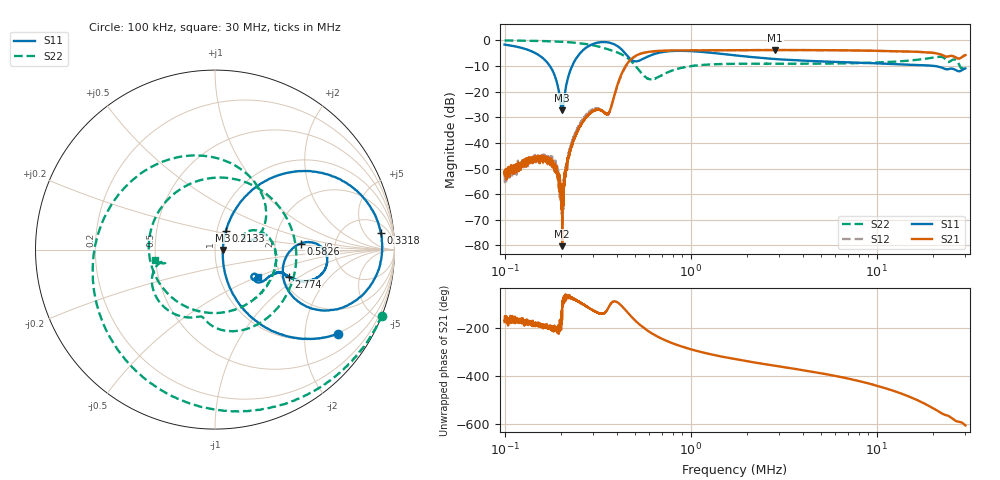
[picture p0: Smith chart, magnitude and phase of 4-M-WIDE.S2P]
!Keysight Technologies,E5063A,MY54504603,A.05.08
!Date: Wed Nov 25 12:58:47 2026
!Data & Calibration Information:
!Freq	S11:NONE(--)	S21:NONE(--)	S12:NONE(--)	S22:NONE(--)
# Hz S dB R 50
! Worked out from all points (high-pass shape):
!   5001 points, 100 kHz to 30 MHz, reference 50 ohm
!   highest |S21| = -3.72 dB at 2.844 MHz (marker M1); lowest = -80.3 dB at 204 kHz (marker M2)
!   |S21| within 3 dB of the highest: 489.3 kHz to 26.78 MHz (26.29 MHz wide, 193 % of centre); 28.43 MHz to end of sweep
!   lowest |S11| = -27.2 dB at 203.7 kHz (marker M3), VSWR 1.09, Z = 54.5 - j0.244 ohm
!   |S11| at or under -10 dB: 175.2 kHz to 230.5 kHz (55.27 kHz wide, 27.2 % of centre); 20.72 MHz to end of sweep
!   |S22| runs from -15.2 to 0.0 dB; largest |S21 - S12| = 0.014
!   S11 on the Smith chart (normalised r, x): 100 kHz: 0.96, -2.94; 213.3 kHz: 1.10, +0.23; 331.8 kHz: 10, +13; 582.6 kHz: 2.81, +0.24; 2.774 MHz: 2.18, -0.81; 30 MHz: 1.53, -0.51
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100000  -1.60 -34.4  -51.45 -176.0  -53.41 -159.5  0.01 -21.6
164583.1  -7.60 -62.3  -47.03 165.4  -44.99 171.5  -0.25 -48.5
186321.3  -13.90 -68.8  -48.03 149.5  -47.10 151.4  -0.39 -58.0
203731.9  -27.22 -2.9  -60.64 -158.9  -58.24 -176.1  -0.51 -66.2
203984.7  -27.21 1.5  -80.29 -108.5  -60.45 -136.2  -0.51 -66.3
213339  -18.34 60.0  -50.24 -73.5  -50.22 -62.2  -0.60 -71.0
258982.6  -4.37 45.6  -32.51 -97.8  -31.48 -98.9  -1.15 -96.2
331848.2  -0.65 5.7  -27.39 -141.4  -27.22 -146.9  -2.67 -151.5
364683  -0.82 -9.2  -28.00 -110.4  -28.36 -114.4  -3.58 175.1
420429.4  -3.14 -29.2  -13.91 -104.8  -14.33 -106.6  -5.21 108.6
479034.6  -7.49 -24.4  -7.29 -152.4  -7.46 -152.8  -8.10 46.7
582560  -6.41 4.0  -4.54 149.9  -4.56 148.8  -14.72 16.3
669687.6  -4.87 3.0  -4.08 121.8  -4.13 120.8  -14.28 28.5
1732051  -5.80 -20.0  -3.76 29.3  -3.78 29.4  -9.12 -20.6
2774083  -7.18 -20.2  -3.73 3.0  -3.73 3.0  -9.08 -46.8
2844281  -7.23 -20.2  -3.72 1.7  -3.73 1.7  -9.06 -48.2
4484814  -8.02 -19.0  -3.75 -22.9  -3.76 -22.9  -9.05 -82.4
1.159933e7  -9.13 -23.7  -4.12 -96.1  -4.16 -95.9  -8.40 142.5
1.545854e7  -9.51 -27.3  -4.35 -131.6  -4.36 -131.3  -7.76 70.9
1.943243e7  -9.81 -32.3  -4.72 -168.6  -4.71 -168.4  -6.85 -5.0
2.281099e7  -10.80 -38.3  -5.86 159.8  -5.87 160.0  -6.63 -77.3
3e7  -10.90 -32.9  -5.70 112.8  -5.72 113.0  -9.30 -170.5
